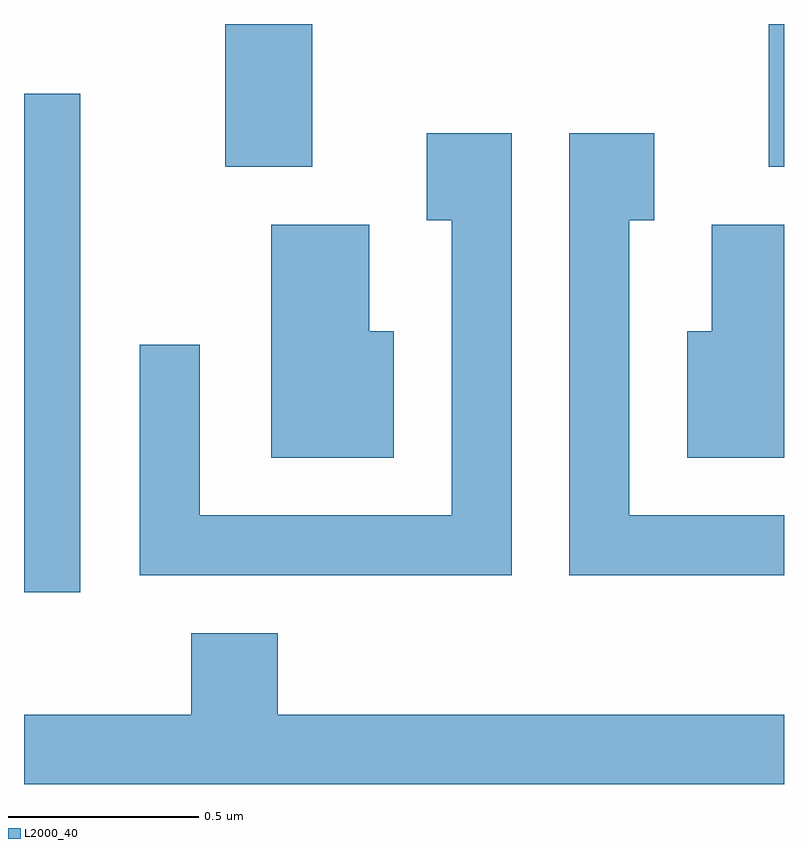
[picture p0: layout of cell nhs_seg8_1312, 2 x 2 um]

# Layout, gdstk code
import gdstk
lib = gdstk.Library(unit=1e-6, precision=1e-09)
def R(c, l, rs):  # rectangles x0, y0, x1, y1
    for r in rs: c.add(gdstk.rectangle(r[:2], r[2:], *l))
def P(c, l, *ps):  # polygons
    for p in ps: c.add(gdstk.Polygon(p, *l))
L2000_40 = (2000, 40)

nhs_seg8_1312 = lib.new_cell('nhs_seg8_1312')
R(nhs_seg8_1312, L2000_40, [(194.611,1885.846,194.759,1887.159), (195.141,1886.966,195.369,1887.342), (196.571,1886.966,196.611,1887.342)])
P(nhs_seg8_1312, L2000_40, [(195.894,1887.054),(195.671,1887.054),(195.671,1886.826),(195.736,1886.826),(195.736,1886.049),(195.074,1886.049),(195.074,1886.498),(194.916,1886.498),(194.916,1885.891),(195.894,1885.891)],
  [(196.611,1886.049),(196.204,1886.049),(196.204,1886.826),(196.269,1886.826),(196.269,1887.054),(196.046,1887.054),(196.046,1885.891),(196.611,1885.891)],
  [(196.611,1886.814),(196.421,1886.814),(196.421,1886.534),(196.356,1886.534),(196.356,1886.201),(196.611,1886.201)],
  [(195.584,1886.534),(195.519,1886.534),(195.519,1886.814),(195.261,1886.814),(195.261,1886.201),(195.584,1886.201)],
  [(196.611,1885.524),(195.279,1885.524),(195.279,1885.739),(195.051,1885.739),(195.051,1885.524),(194.611,1885.524),(194.611,1885.342),(196.611,1885.342)])

lib.write_gds('nhs_seg8_1312.gds')
